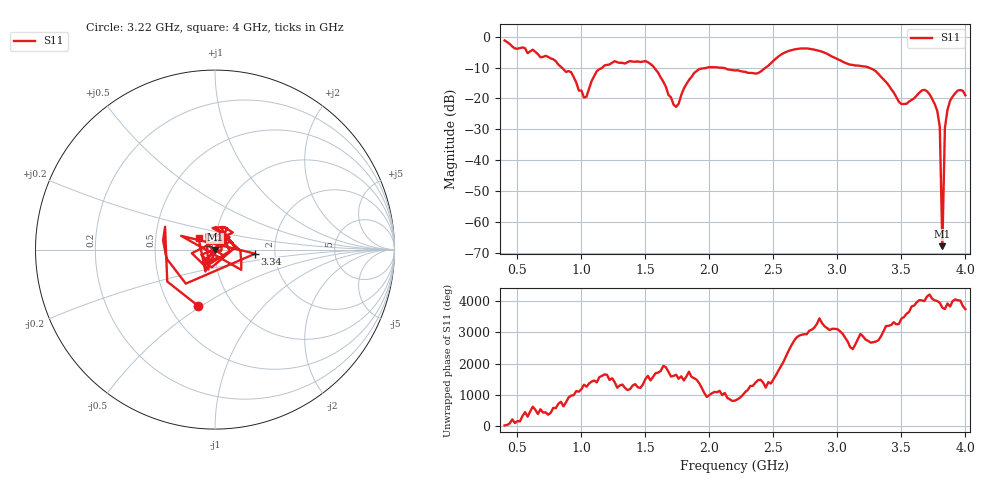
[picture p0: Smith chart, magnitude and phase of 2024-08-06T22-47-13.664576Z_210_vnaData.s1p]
!Created with skrf (http://scikit-rf.org).
# Hz S RI R 50.0
!freq ReS11 ImS11
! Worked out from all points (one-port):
!   181 points, 400 MHz to 4 GHz, reference 50 ohm
!   lowest |S11| = -67.9 dB at 3.82 GHz (marker M1), VSWR 1.00, Z = 50 - j0.00717 ohm
!   |S11| at or under -10 dB: 1.568 GHz to 1.987 GHz (418.8 MHz wide, 23.6 % of centre); 2.072 GHz to 2.44 GHz (368.2 MHz wide, 16.3 % of centre); 3.245 GHz to end of sweep (the widest 3 of 4)
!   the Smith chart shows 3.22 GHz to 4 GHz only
!   S11 on the Smith chart (normalised r, x): 3.22 GHz: 0.69, -0.49; 3.34 GHz: 1.57, -0.07; 4 GHz: 0.83, +0.11
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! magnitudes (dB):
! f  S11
! 400 MHz  -1.2
! 860 MHz  -10.5
! 920 MHz  -11.5
! 1.02 GHz  -19.7
! 1.12 GHz  -11.2
! 1.3 GHz  -8.5
! 1.54 GHz  -8.8
! 1.72 GHz  -22.0
! 1.76 GHz  -21.7
! 1.82 GHz  -15.4
! 1.92 GHz  -10.5
! 2.2 GHz  -10.9
! 2.38 GHz  -11.8
! 2.66 GHz  -4.2
! 2.86 GHz  -4.6
! 3.1 GHz  -9.1
! 3.22 GHz  -9.7
! 3.34 GHz  -13.0
! 3.5 GHz  -21.8
! 3.56 GHz  -21.0
! 3.68 GHz  -17.2
! 3.78 GHz  -24.0
! 3.8 GHz  -29.2
! 3.82 GHz  -67.9
! 3.84 GHz  -29.5
! 3.86 GHz  -23.8
! 3.94 GHz  -17.5
! 4 GHz  -19.0
